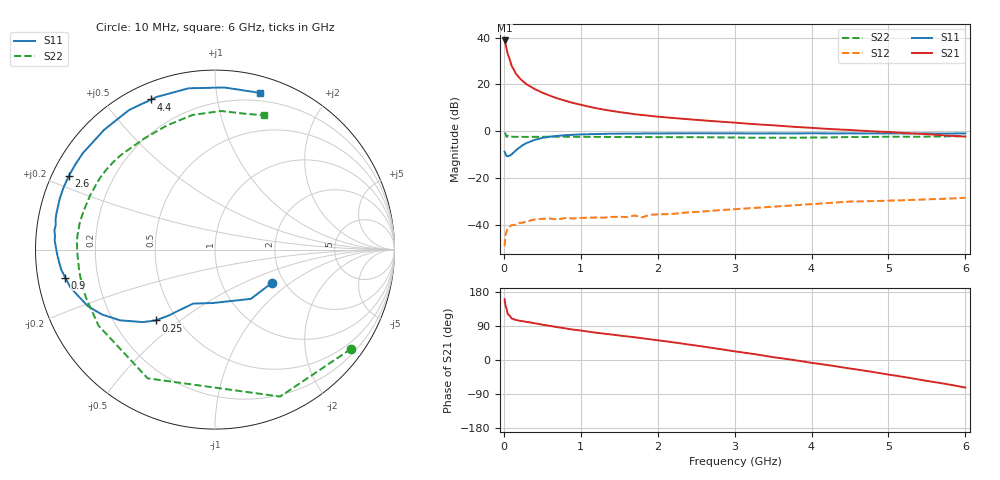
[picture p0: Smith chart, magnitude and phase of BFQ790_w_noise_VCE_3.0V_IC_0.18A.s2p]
! (c) 2015  Infineon Technologies AG, Munich
! Infineon Technologies  Discrete & RF Semiconductors
! BFQ790
! VCE =  3.0 V,  IC = 0.18 A
! Common Emitter S-Parameters:  May 2015
# GHz  S  MA  R  50
!  f  S11  S21  S12  S22
! GHz  MAG  ANG  MAG  ANG  MAG  ANG  MAG  ANG
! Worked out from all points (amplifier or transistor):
!   77 points, 10 MHz to 6 GHz, reference 50 ohm
!   highest |S21| = 38.7 dB at 10 MHz (marker M1)
!   |S21| within 3 dB of that: start of sweep to 32.19 MHz
!   unconditionally stable (mu >= 1): 242.9 MHz to 377.5 MHz; 637.6 MHz to 755.5 MHz; 897.7 MHz to end of sweep
!   at 130 MHz: K = 0.74, MSG = 33.1 dB, |S12| = -39.8 dB
!   at 2.2 GHz: K = 1.27, MAG = 17.3 dB, |S12| = -35.1 dB
!   at 6 GHz: K = 1.11, MAG = 11.0 dB, |S12| = -28.3 dB
!   lowest NFmin = 3.17 dB at 1.5 GHz
!   S11 on the Smith chart (normalised r, x): 10 MHz: 1.74, -0.74; 250 MHz: 0.38, -0.41; 900 MHz: 0.08, -0.09; 2.6 GHz: 0.05, +0.24; 4.4 GHz: 0.07, +0.66; 6 GHz: 0.13, +1.32
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0.01  0.3683 -30.0  86.59 160.5  0.0036 69.6  0.9385 -36.1
0.02  0.3394 -54.0  74.71 144.6  0.0061 55.4  0.8957 -66.1
0.05  0.2977 -92.0  44.59 121.0  0.0089 34.3  0.8093 -117.6
0.1  0.3243 -112.0  25.09 109.6  0.0101 18.9  0.7748 -146.8
0.15  0.3851 -119.8  17.67 105.9  0.0103 18.4  0.7671 -158.7
0.2  0.4519 -125.3  13.89 103.7  0.0113 20.3  0.7672 -165.0
0.25  0.5149 -130.0  11.6 102.2  0.0114 17.8  0.7655 -169.1
0.3  0.5694 -134.8  9.991 100.5  0.0122 17.2  0.7653 -172.2
0.4  0.6596 -143.3  8.002 96.9  0.0133 14.1  0.7662 -176.8
0.5  0.7259 -150.1  6.683 93.3  0.0138 11.2  0.7681 179.8
0.6  0.7745 -155.9  5.762 90.0  0.0139 12.2  0.7705 177.2
0.7  0.8035 -161.1  5.032 86.5  0.0134 13.9  0.7703 174.8
0.9  0.8485 -169.4  4.039 80.2  0.014 7.8  0.7679 171.2
1.1  0.8727 -175.9  3.386 74.8  0.0145 10.4  0.7672 167.8
1.5  0.8952 174.9  2.585 64.7  0.0152 11.3  0.7608 162.1
2.1  0.908 163.7  1.997 49.5  0.0173 11.6  0.7554 153.3
2.6  0.912 153.2  1.716 35.1  0.0198 10.0  0.7521 143.8
3.1  0.9085 141.7  1.494 20.1  0.0226 2.5  0.7387 132.4
4.1  0.9102 119.5  1.163 -10.2  0.029 -10.9  0.7427 109.0
4.4  0.9085 113.0  1.092 -19.3  0.0313 -16.5  0.7541 101.8
5.1  0.906 96.8  0.95 -41.5  0.0339 -30.7  0.7714 85.5
6  0.9083 74.0  0.776 -72.8  0.0386 -51.3  0.7966 70.0
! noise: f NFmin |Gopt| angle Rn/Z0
0.45  5.2  0.46  140  0.5
0.9  3.66  0.59  168  0.16
1.5  3.17  0.7  -173  0.09
1.8  3.24  0.71  -167  0.1
2.6  3.51  0.74  -152  0.25
3.5  4.07  0.82  -136  0.56
